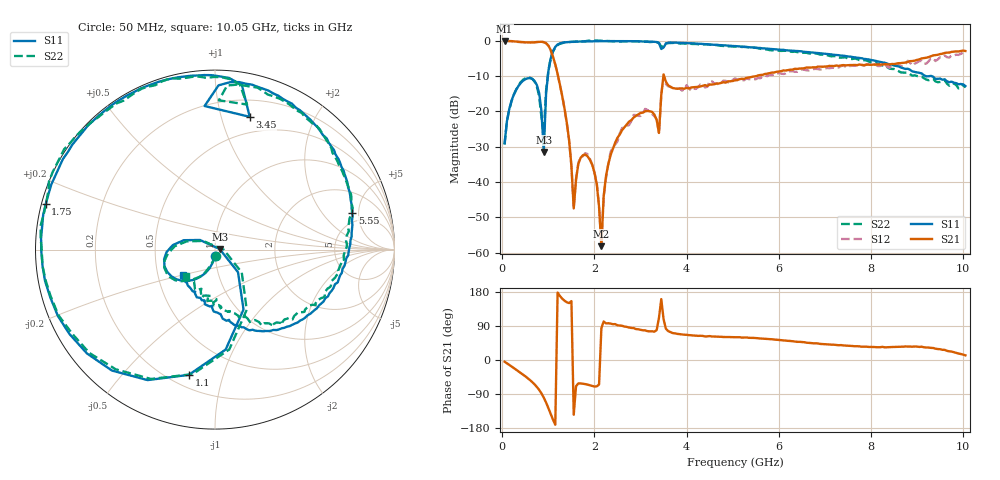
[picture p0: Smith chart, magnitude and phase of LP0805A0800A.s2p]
! AVX THIN FILM OPERATION
! 0805 Size Low Pass Filter P/N  LP0805A0800AWTR
! Network Analyzer HP8720ES.07.64: Feb 23, 2000 Serial No. US39172382
! Hewlett-Packard
!  2 Feb 2003  02:44:22
! Frequency  S11  S21  S12  S22
#	 HZ  S  DB 	R  50
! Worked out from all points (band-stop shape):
!   201 points, 50 MHz to 10.05 GHz, reference 50 ohm
!   highest |S21| = -0.02 dB at 50 MHz (marker M1); lowest = -58.2 dB at 2.15 GHz (marker M2)
!   |S21| within 3 dB of the highest: start of sweep to 1.061 GHz; 9.901 GHz to end of sweep (the widest 2 of 3)
!   lowest |S11| = -31.5 dB at 900 MHz (marker M3), VSWR 1.05, Z = 52.7 + j0.312 ohm
!   |S11| at or under -10 dB: start of sweep to 989.2 MHz; 9.188 GHz to 9.278 GHz (90.19 MHz wide, 0.977 % of centre); 9.311 GHz to end of sweep
!   |S22| runs from -29.4 to 0.1 dB; largest |S21 - S12| = 0.14
!   S11 on the Smith chart (normalised r, x): 50 MHz: 0.99, -0.07; 1.1 GHz: 0.27, -0.78; 1.75 GHz: 0.01, +0.13; 3.45 GHz: 0.35, +1.24; 5.55 GHz: 3.81, +4.21; 10.05 GHz: 0.67, -0.20
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5e7  -29.02 -93.7  -0.02 -4.6  -0.00 -4.3  -29.38 -85.1
2.5e8  -15.25 -118.4  -0.17 -21.3  -0.18 -21.6  -15.29 -119.0
6e8  -10.57 -161.9  -0.49 -52.9  -0.43 -52.8  -10.46 -160.5
8e8  -14.82 163.2  -0.32 -78.9  -0.32 -79.2  -15.69 163.8
9e8  -31.54 6.4  -0.39 -99.2  -0.39 -99.0  -26.25 -0.4
9.5e8  -14.91 -44.5  -0.68 -112.3  -0.73 -111.9  -14.14 -40.6
1.1e9  -2.94 -101.8  -4.49 -157.5  -4.97 -156.8  -3.04 -100.1
1.4e9  -0.40 -163.8  -23.23 152.4  -23.50 152.7  -0.43 -164.1
1.55e9  -0.28 -179.4  -47.49 -144.4  -47.36 -138.8  -0.31 -179.5
1.75e9  -0.21 165.0  -32.41 -62.7  -32.71 -63.7  -0.21 164.4
2.05e9  -0.14 146.4  -40.59 -69.6  -40.23 -69.9  0.09 146.3
2.15e9  -0.13 141.1  -58.18 83.8  -57.71 53.8  0.01 141.8
2.25e9  -0.09 135.8  -38.36 96.7  -39.00 95.4  -0.06 136.5
2.5e9  -0.09 123.8  -27.46 91.6  -28.48 93.9  -0.15 124.2
3.1e9  -0.19 97.9  -19.97 78.1  -19.30 77.2  -0.26 97.2
3.4e9  -0.65 80.7  -26.12 111.5  -26.27 110.6  -0.62 81.5
3.45e9  -2.33 75.3  -15.40 160.7  -15.27 157.5  -1.64 77.5
5.05e9  -1.51 31.6  -11.21 60.1  -10.63 57.2  -1.65 28.6
5.55e9  -2.03 15.1  -9.83 57.5  -10.55 54.7  -2.12 14.6
6.75e9  -3.33 -22.5  -7.50 44.1  -8.04 44.5  -3.55 -22.9
8.4e9  -6.72 -69.8  -6.73 33.7  -7.66 29.3  -7.88 -66.0
1.005e10  -12.83 -142.3  -2.91 12.2  -3.81 11.1  -13.21 -137.9
